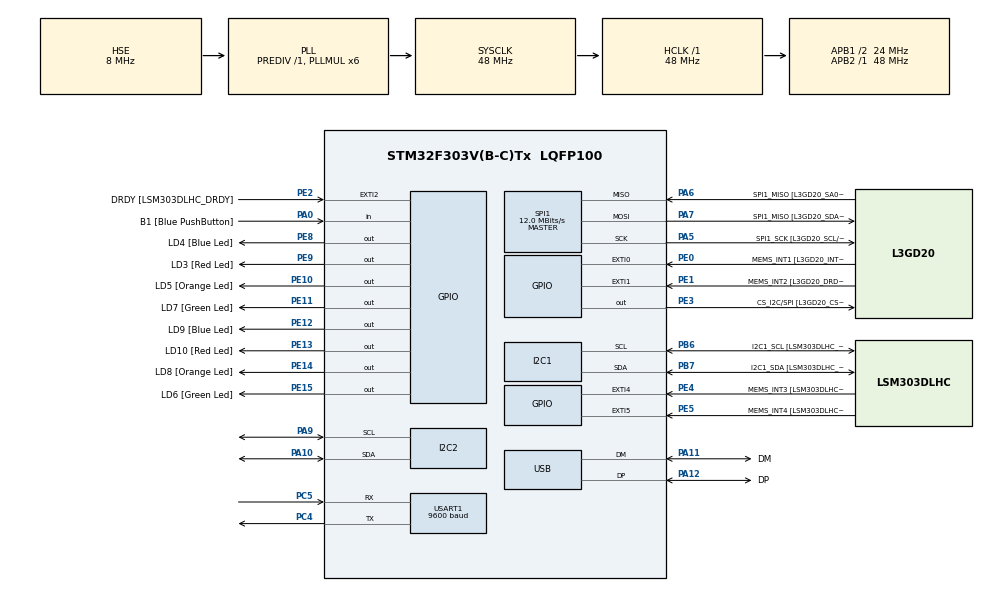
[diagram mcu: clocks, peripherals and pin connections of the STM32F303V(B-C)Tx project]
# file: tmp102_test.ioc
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I2C1.Timing-I2C=0x2000090E
Mcu.Family=STM32F3
Mcu.Name=STM32F303V(B-C)Tx
Mcu.Package=LQFP100
NVIC.PriorityGroup=NVIC_PRIORITYGROUP_0
PA0.GPIO_Label=B1 [Blue PushButton]
PA0.Signal=GPIO_Input
PA10.Mode=I2C
PA10.Signal=I2C2_SDA
PA11.GPIO_Label=DM
PA11.Mode=Device
PA11.Signal=USB_DM
PA12.GPIO_Label=DP
PA12.Mode=Device
PA12.Signal=USB_DP
PA13.GPIO_Label=SWDIO
PA13.Mode=Serial_Wire
PA13.Signal=SYS_JTMS-SWDIO
PA14.GPIO_Label=SWCLK
PA14.Mode=Serial_Wire
PA14.Signal=SYS_JTCK-SWCLK
PA5.GPIO_Label=SPI1_SCK [L3GD20_SCL/SPC]
PA5.Mode=Full_Duplex_Master
PA5.Signal=SPI1_SCK
PA6.GPIO_Label=SPI1_MISO [L3GD20_SA0/SDO]
PA6.Mode=Full_Duplex_Master
PA6.Signal=SPI1_MISO
PA7.GPIO_Label=SPI1_MISO [L3GD20_SDA/SDI/SDO]
PA7.Mode=Full_Duplex_Master
PA7.Signal=SPI1_MOSI
PA9.Mode=I2C
PA9.Signal=I2C2_SCL
PB3.GPIO_Label=SWO
PB3.Signal=SYS_JTDO-TRACESWO
PB6.GPIO_Label=I2C1_SCL [LSM303DLHC_SCL]
PB6.GPIO_Pu=GPIO_PULLUP
PB6.Mode=I2C
PB6.Signal=I2C1_SCL
PB7.GPIO_Label=I2C1_SDA [LSM303DLHC_SDA]
PB7.GPIO_Pu=GPIO_PULLUP
PB7.Mode=I2C
PB7.Signal=I2C1_SDA
PC14-OSC32_IN.GPIO_Label=OSC32_IN
PC14-OSC32_IN.Signal=RCC_OSC32_IN
PC15-OSC32_OUT.GPIO_Label=OSC32_OUT
PC15-OSC32_OUT.Signal=RCC_OSC32_OUT
PC4.Mode=Asynchronous
PC4.Signal=USART1_TX
PC5.Mode=Asynchronous
PC5.Signal=USART1_RX
PE0.GPIO_Label=MEMS_INT1 [L3GD20_INT1]
PE0.GPIO_ModeDefaultEXTI=GPIO_MODE_EVT_RISING
PE0.Signal=GPXTI0
PE1.GPIO_Label=MEMS_INT2 [L3GD20_DRDY/INT2]
PE1.GPIO_ModeDefaultEXTI=GPIO_MODE_EVT_RISING
PE1.Signal=GPXTI1
PE10.GPIO_Label=LD5 [Orange Led]
PE10.Signal=GPIO_Output
PE11.GPIO_Label=LD7 [Green Led]
PE11.Signal=GPIO_Output
PE12.GPIO_Label=LD9 [Blue Led]
PE12.Signal=GPIO_Output
PE13.GPIO_Label=LD10 [Red Led]
PE13.Signal=GPIO_Output
PE14.GPIO_Label=LD8 [Orange Led]
PE14.Signal=GPIO_Output
PE15.GPIO_Label=LD6 [Green Led]
PE15.Signal=GPIO_Output
PE2.GPIO_Label=DRDY [LSM303DLHC_DRDY]
PE2.GPIO_ModeDefaultEXTI=GPIO_MODE_EVT_RISING
PE2.Signal=GPXTI2
PE3.GPIO_Label=CS_I2C/SPI [L3GD20_CS_I2C/SPI]
PE3.Signal=GPIO_Output
PE4.GPIO_Label=MEMS_INT3 [LSM303DLHC_INT1]
PE4.GPIO_ModeDefaultEXTI=GPIO_MODE_EVT_RISING
PE4.Signal=GPXTI4
PE5.GPIO_Label=MEMS_INT4 [LSM303DLHC_INT2]
PE5.GPIO_ModeDefaultEXTI=GPIO_MODE_EVT_RISING
PE5.Signal=GPXTI5
PE8.GPIO_Label=LD4 [Blue Led]
PE8.Signal=GPIO_Output
PE9.GPIO_Label=LD3 [Red Led]
PE9.Signal=GPIO_Output
PF0-OSC_IN.GPIO_Label=OSC_IN
PF0-OSC_IN.Mode=HSE-External-Clock-Source
PF0-OSC_IN.Signal=RCC_OSC_IN
PF1-OSC_OUT.GPIO_Label=OSC_OUT
PF1-OSC_OUT.Signal=RCC_OSC_OUT
ProjectManager.HeapSize=0x200
ProjectManager.StackSize=0x400
ProjectManager.TargetToolchain=STM32CubeIDE
RCC.AHBFreq_Value=48000000
RCC.APB1CLKDivider=RCC_HCLK_DIV2
RCC.APB1Freq_Value=24000000
RCC.APB1TimFreq_Value=48000000
RCC.APB2Freq_Value=48000000
RCC.APB2TimFreq_Value=48000000
RCC.CortexFreq_Value=48000000
RCC.HCLKFreq_Value=48000000
RCC.HSE_VALUE=8000000
RCC.HSI_VALUE=8000000
RCC.LSE_VALUE=32768
RCC.PLLMUL=RCC_PLL_MUL6
RCC.SYSCLKFreq_VALUE=48000000
RCC.SYSCLKSourceVirtual=RCC_SYSCLKSOURCE_PLLCLK
RCC.USBFreq_Value=48000000
SPI1.BaudRatePrescaler=SPI_BAUDRATEPRESCALER_4
SPI1.BaudRatePrescaler-Full_Duplex_Master=SPI_BAUDRATEPRESCALER_2
SPI1.CalculateBaudRate=12.0 MBits/s
SPI1.CalculateBaudRate-Full_Duplex_Master=24.0 MBits/s
SPI1.Direction=SPI_DIRECTION_2LINES
SPI1.Mode=SPI_MODE_MASTER
SPI1.Mode-Full_Duplex_Master=SPI_MODE_MASTER
SPI1.VirtualType=VM_MASTER
USART1.BaudRate=9600
USART1.VirtualMode-Asynchronous=VM_ASYNC
board=STM32F3DISCOVERY

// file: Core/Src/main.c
/* USER CODE BEGIN Header */
/**
  ******************************************************************************
  * @file           : main.c
  * @brief          : Main program body
  ******************************************************************************
  * @attention
  *
  * Copyright (c) 2022 STMicroelectronics.
  * All rights reserved.
  *
  * This software is licensed under terms that can be found in the LICENSE file
  * in the root directory of this software component.
  * If no LICENSE file comes with this software, it is provided AS-IS.
  *
  ******************************************************************************
  */
/* USER CODE END Header */
#include "main.h"
#include "i2c.h"
#include "spi.h"
#include "usart.h"
#include "gpio.h"

/* USER CODE BEGIN PTD */
void Tmp102Init(void);	// Initialization sequence for TMP102 sensor
void LogMessage(int8_t* msgStr);
/* USER CODE END PTD */

/* USER CODE BEGIN PV */
const uint16_t tmp102Address = 0x48 << 1;	// required left-shift by 1 by the HAL_I2C_IsDeviceReady
/* USER CODE END PV */

void SystemClock_Config(void);

int main(void)
{

  /* MCU Configuration--------------------------------------------------------*/

  /* Reset of all peripherals, Initializes the Flash interface and the Systick. */
  HAL_Init();

  /* Configure the system clock */
  SystemClock_Config();

  /* Initialize all configured peripherals */
  MX_GPIO_Init();
  MX_I2C1_Init();
  MX_SPI1_Init();
  MX_USB_PCD_Init();
  MX_I2C2_Init();
  MX_USART1_UART_Init();
  /* USER CODE BEGIN 2 */
  LogMessage("Initializing I2C...\r\n");
  HAL_I2C_MspInit(&hi2c2);	// initializes the GPIO I2C pins (SDA and SCL), initializes I2C clock
  LogMessage("I2C initialization complete\r\n");

  LogMessage("Initializing TMP102 sensor...\r\n");
  Tmp102Init();
  LogMessage("TMP102 sensor initialization complete\r\n");

  /* USER CODE END 2 */

  /* Infinite loop */
  while (1)
  {

  }
}

void SystemClock_Config(void)
{
  RCC_OscInitTypeDef RCC_OscInitStruct = {0};
  RCC_ClkInitTypeDef RCC_ClkInitStruct = {0};
  RCC_PeriphCLKInitTypeDef PeriphClkInit = {0};

  /** Initializes the RCC Oscillators according to the specified parameters
  * in the RCC_OscInitTypeDef structure.
  */
  RCC_OscInitStruct.OscillatorType = RCC_OSCILLATORTYPE_HSI|RCC_OSCILLATORTYPE_HSE;
  RCC_OscInitStruct.HSEState = RCC_HSE_BYPASS;
  RCC_OscInitStruct.HSEPredivValue = RCC_HSE_PREDIV_DIV1;
  RCC_OscInitStruct.HSIState = RCC_HSI_ON;
  RCC_OscInitStruct.HSICalibrationValue = RCC_HSICALIBRATION_DEFAULT;
  RCC_OscInitStruct.PLL.PLLState = RCC_PLL_ON;
  RCC_OscInitStruct.PLL.PLLSource = RCC_PLLSOURCE_HSE;
  RCC_OscInitStruct.PLL.PLLMUL = RCC_PLL_MUL6;
  if (HAL_RCC_OscConfig(&RCC_OscInitStruct) != HAL_OK)
  {
    Error_Handler();
  }

  /** Initializes the CPU, AHB and APB buses clocks
  */
  RCC_ClkInitStruct.ClockType = RCC_CLOCKTYPE_HCLK|RCC_CLOCKTYPE_SYSCLK
                              |RCC_CLOCKTYPE_PCLK1|RCC_CLOCKTYPE_PCLK2;
  RCC_ClkInitStruct.SYSCLKSource = RCC_SYSCLKSOURCE_PLLCLK;
  RCC_ClkInitStruct.AHBCLKDivider = RCC_SYSCLK_DIV1;
  RCC_ClkInitStruct.APB1CLKDivider = RCC_HCLK_DIV2;
  RCC_ClkInitStruct.APB2CLKDivider = RCC_HCLK_DIV1;

  if (HAL_RCC_ClockConfig(&RCC_ClkInitStruct, FLASH_LATENCY_1) != HAL_OK)
  {
    Error_Handler();
  }
  PeriphClkInit.PeriphClockSelection = RCC_PERIPHCLK_USB|RCC_PERIPHCLK_USART1
                              |RCC_PERIPHCLK_I2C1|RCC_PERIPHCLK_I2C2;
  PeriphClkInit.Usart1ClockSelection = RCC_USART1CLKSOURCE_PCLK2;
  PeriphClkInit.I2c1ClockSelection = RCC_I2C1CLKSOURCE_HSI;
  PeriphClkInit.I2c2ClockSelection = RCC_I2C2CLKSOURCE_HSI;
  PeriphClkInit.USBClockSelection = RCC_USBCLKSOURCE_PLL;
  if (HAL_RCCEx_PeriphCLKConfig(&PeriphClkInit) != HAL_OK)
  {
    Error_Handler();
  }
}

/* USER CODE BEGIN 4 */
void Tmp102Init()
{

	  uint32_t trials = 1;
	  uint32_t timeout = 1000; // milliseconds
	  // TODO figure out why changing the tmp102 address to other available addresses doesn't work.
	  // TODO figure out why we had to left-shift the address by 1
	  if(HAL_I2C_IsDeviceReady(&hi2c2, tmp102Address, trials, timeout) != HAL_OK)
	  {
		  Error_Handler();
	  }
	  else
	  {
		   LogMessage("TMP102 sensor ACK received\r\n");
	  }

	  // Check if TMP102 is in the default configuration ("Section 7.5.3 Configuration Register" of TMP102 Datasheet)
	  const uint16_t defaultConfigMSB = 0x60;
	  const uint16_t defaultConfigLSB = 0xA0;
//	  const uint32_t defaultConfigVal = (uint32_t) defaultConfigMSB + (uint32_t) defaultConfigLSB;

	  // TODO Study I2C_TransferConfig method
	  uint8_t readBuffer[2] = {'\0'};
	  uint16_t registerPtr = 0x01; // tmp102's pointer register value of 0x01 indicates access to the configuration register

	  // set the register pointer's value to the register wanted to be read
	  if(HAL_I2C_Master_Transmit(&hi2c2, tmp102Address, &registerPtr, sizeof(uint8_t), timeout) != HAL_OK)
	  {
		  Error_Handler();
	  }
	  else
	  {
		  LogMessage("TMP102 Register Pointer write success\r\n");
	  }

	  // receive the 2 x 8bit (2 bytes) data into the readBuffer
	  if(HAL_I2C_Master_Receive(&hi2c2, tmp102Address, readBuffer, sizeof(uint16_t), timeout) != HAL_OK)
	  {
		  Error_Handler();
	  }
	  else
	  {
		  if(readBuffer[0] == defaultConfigMSB && readBuffer[1] == defaultConfigLSB)
		  {
			  LogMessage("TMP102 Configuration Register in default configuration\r\n");
		  }
		  else
		  {
			  Error_Handler();
		  }
	  }

//	  if(HAL_I2C_Master_Receive(&hi2c2, tmp102Address, readBuffer, sizeof(readData), timeout) != HAL_OK)
//	  {
//	  } // TODO change to non-blocking mode when we are more familiar with I2C.
//	  else
//	  {
//		  uint8_t* pReadData = &readBuffer;
//		  if(*pReadData != defaultConfigVal)
//		  {
//			  LogMessage("Config error \r\n");
//		  }
//	  }

}

/*
 *  Displays contents of msgStr to console
 *  NOTE: Uses USART1
 */
void LogMessage(int8_t* msgStr)
{
	  const int timeoutMs = 100;
	  HAL_UART_Transmit(&huart1, msgStr, strlen(msgStr), timeoutMs);
};

/* USER CODE END 4 */

void Error_Handler(void)
{
  /* USER CODE BEGIN Error_Handler_Debug */
  /* User can add his own implementation to report the HAL error return state */
  __disable_irq();

  char errMsg[] = "Error encountered. Terminate the program\r\n";
  HAL_UART_Transmit(&huart1, errMsg, sizeof(errMsg), HAL_MAX_DELAY);

  while (1)
  {
  }
  /* USER CODE END Error_Handler_Debug */
}
